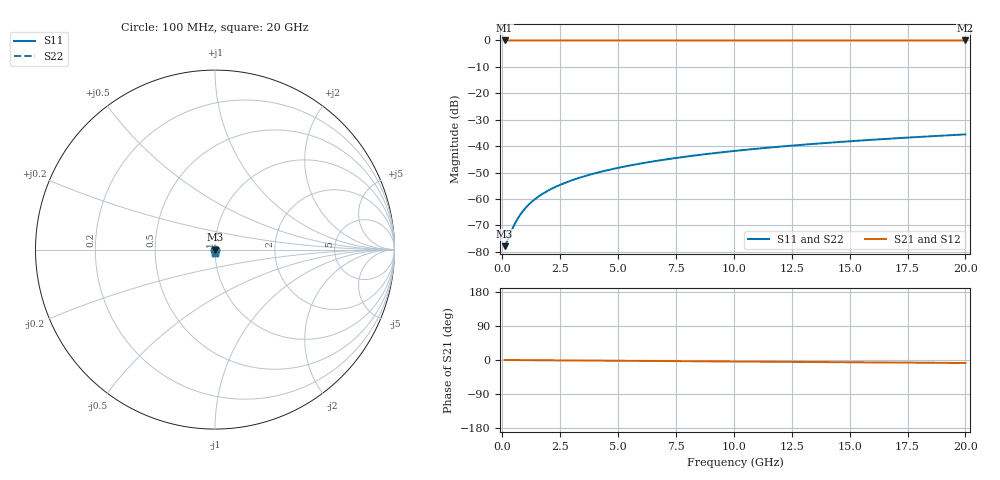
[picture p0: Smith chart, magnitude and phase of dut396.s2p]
! Touchstone file exported from HFSS 2026.1.0
!  File:  C:/ffzhzh/LocalFiles/Ansys_Project_Files/temp_train_TSV_396_1783020202_53980.aedt
!  Generated:  03:24:47 AM Jul  3, 2026
!  Design:  TSV
!  Project:  temp_train_TSV_396_1783020202_53980
! Variables:
!  h_bsmrdl = 2um
!  h_ox = 20um
!  h_rdl = 5um
!  h_sub = 80.62um
!  h_tmrdl = 5um
!  h_tsv = 80.62um
!  h_via = 3um
!  l_bsmrdl = 300um
!  l_sub = 421um
!  l_tmrdl = 200um
!  m_sub = 200um
!  pitch = 37.6um
!  r_tsv = 10.5um
!  s_tmrdl = 10um
!  w_bsmrdl = 18um
!  w_sub = 500um
!  w_tmrdl = 12um
!  x_tsv_center1 = 206um
!  x_tsv_center2 = 524um
!  x_tsv_center3 = 736um
!  x_tsv_center4 = 1054um
!  x_tsv_center5 = 1266um
!  x_tsv_center6 = 1584um
# GHz S MA R 50.000000
! Terminal data exported
! Port[1] = TSV1_1_T1
! Port[2] = TSV1_1_T2
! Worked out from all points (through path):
!   200 points, 100 MHz to 20 GHz, reference 50 ohm
!   highest |S21| = 0.00 dB at 100 MHz (marker M1); lowest = 0.0 dB at 20 GHz (marker M2)
!   group delay of S21, straight-line fit = 1.09 ps
!   lowest |S11| = -77.9 dB at 100 MHz (marker M3), VSWR 1.00, Z = 50 - j0.00378 ohm
!   |S11| at or under -10 dB: start of sweep to end of sweep
!   |S22| runs from -77.9 to -35.6 dB; largest |S21 - S12| = 3.8e-15
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0.1  0.000128 -17.2  0.9999 -0.0  0.9999 -0.0  0.000128 -17.2
! Gamma 0 0 0 0
! Port Impedance 50 0 50 0
0.2  0.0001568 -30.2  0.9999 -0.1  0.9999 -0.1  0.0001568 -30.2
0.4  0.0002526 -45.0  0.9998 -0.2  0.9998 -0.2  0.0002526 -45.0
0.5  0.0003135 -49.5  0.9998 -0.2  0.9998 -0.2  0.0003135 -49.5
0.6  0.0003799 -53.1  0.9998 -0.2  0.9998 -0.2  0.0003799 -53.1
0.7  0.0004504 -56.1  0.9997 -0.3  0.9997 -0.3  0.0004504 -56.1
0.8  0.0005236 -58.7  0.9997 -0.3  0.9997 -0.3  0.0005236 -58.7
1  0.0006751 -62.8  0.9997 -0.4  0.9997 -0.4  0.0006751 -62.8
1.3  0.0009082 -67.4  0.9996 -0.5  0.9996 -0.5  0.0009082 -67.4
1.7  0.001222 -71.6  0.9996 -0.7  0.9996 -0.7  0.001222 -71.6
2.2  0.001617 -75.0  0.9996 -0.9  0.9996 -0.9  0.001617 -75.0
2.8  0.002094 -77.6  0.9995 -1.1  0.9995 -1.1  0.002094 -77.6
3.5  0.002655 -79.6  0.9995 -1.4  0.9995 -1.4  0.002655 -79.6
4.2  0.003224 -81.1  0.9994 -1.7  0.9994 -1.7  0.003224 -81.1
5  0.003881 -82.3  0.9993 -2.0  0.9993 -2.0  0.003881 -82.3
5.9  0.004629 -83.5  0.9993 -2.3  0.9993 -2.3  0.004629 -83.5
6.8  0.005383 -84.5  0.9992 -2.7  0.9992 -2.7  0.005383 -84.5
8.3  0.00665 -86.0  0.9991 -3.3  0.9991 -3.3  0.00665 -86.0
10.1  0.00818 -87.5  0.999 -4.0  0.999 -4.0  0.00818 -87.5
13.4  0.011 -89.7  0.9989 -5.3  0.9989 -5.3  0.011 -89.7
16.7  0.01383 -91.6  0.9987 -6.6  0.9987 -6.6  0.01383 -91.7
20  0.01669 -93.4  0.9985 -7.9  0.9985 -7.9  0.01668 -93.4
